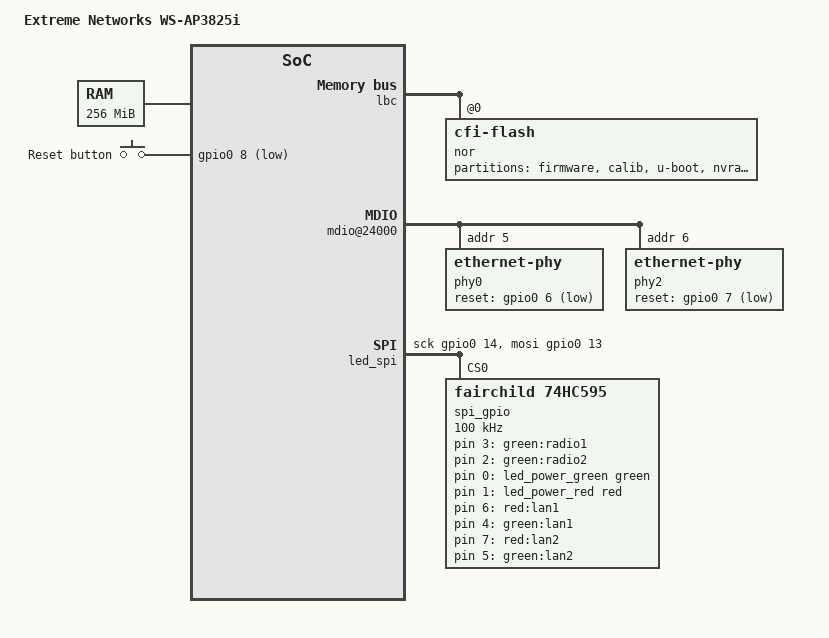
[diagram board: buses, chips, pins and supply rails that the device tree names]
// SPDX-License-Identifier: GPL-2.0-or-later or MIT

/include/ "fsl/p1020si-pre.dtsi"

#include <dt-bindings/gpio/gpio.h>
#include <dt-bindings/input/input.h>
#include <dt-bindings/leds/common.h>

/ {
	model = "Extreme Networks WS-AP3825i";
	compatible = "extreme-networks,ws-ap3825i";

	#address-cells = <2>;
	#size-cells = <2>;

	aliases {
		led-boot = &led_power_green;
		led-failsafe = &led_power_red;
		led-running = &led_power_green;
		led-upgrade = &led_power_red;
		label-mac-device = &enet0;
	};

	chosen {
		bootargs-override = "console=ttyS0,115200";
		stdout-path = &serial0;
	};

	memory {
		device_type = "memory";
	};

	leds {
		compatible = "gpio-leds";

		wifi1 {
			gpios = <&spi_gpio 3 GPIO_ACTIVE_HIGH>;
			label = "green:radio1";
			linux,default-trigger = "phy0tpt";
		};

		wifi2 {
			gpios = <&spi_gpio 2 GPIO_ACTIVE_HIGH>;
			label = "green:radio2";
			linux,default-trigger = "phy1tpt";
		};

		led_power_green: power_green {
			gpios = <&spi_gpio 0 GPIO_ACTIVE_HIGH>;
			function = LED_FUNCTION_POWER;
			color = <LED_COLOR_ID_GREEN>;
		};

		led_power_red: power_red {
			gpios = <&spi_gpio 1 GPIO_ACTIVE_HIGH>;
			function = LED_FUNCTION_POWER;
			color = <LED_COLOR_ID_RED>;
		};

		lan1_red {
			gpios = <&spi_gpio 6 GPIO_ACTIVE_HIGH>;
			label = "red:lan1";
		};

		lan1_green {
			gpios = <&spi_gpio 4 GPIO_ACTIVE_HIGH>;
			label = "green:lan1";
		};

		lan2_red {
			gpios = <&spi_gpio 7 GPIO_ACTIVE_HIGH>;
			label = "red:lan2";
		};

		lan2_green {
			gpios = <&spi_gpio 5 GPIO_ACTIVE_HIGH>;
			label = "green:lan2";
		};
	};

	keys {
		compatible = "gpio-keys";

		reset {
			label = "Reset button";
			gpios = <&gpio0 8 GPIO_ACTIVE_LOW>;
			linux,code = <KEY_RESTART>;
		};
	};

	lbc: localbus@ffe05000 {
		reg = <0 0xffe05000 0 0x1000>;
		ranges = <0x0 0x0 0x0 0xec000000 0x4000000>;

		nor@0 {
			compatible = "cfi-flash";
			reg = <0x0 0x0 0x4000000>;
			bank-width = <2>;
			device-width = <1>;

			partitions {
				compatible = "fixed-partitions";
				#address-cells = <1>;
				#size-cells = <1>;

				partition@0 {
					compatible = "denx,fit";
					reg = <0x0 0x3d60000>;
					label = "firmware";
				};

				partition@3d60000 {
					reg = <0x3d60000 0x20000>;
					label = "calib";
					read-only;
				};

				partition@3d80000{
					reg = <0x3d80000 0x80000>;
					label = "u-boot";
					read-only;
				};

				partition@3e00000{
					reg = <0x3e00000 0x100000>;
					label = "nvram";
					read-only;
				};

				partition@3f00000 {
					reg = <0x3f00000 0x20000>;
					label = "cfg2";
				};

				partition@3f20000 {
					reg = <0x3f20000 0x20000>;
					label = "cfg1";

					nvmem-layout {
						compatible = "u-boot,env-redundant-bool";
						env-size = <0x10000>;

						macaddr_cfg1_ethaddr: ethaddr {
							#nvmem-cell-cells = <1>;
						};
					};
				};
			};
		};
	};

	soc: soc@ffe00000 {
		ranges = <0x0 0x0 0xffe00000 0x100000>;

		gpio0: gpio-controller@fc00 {
		};

		mdio@24000 {
			phy0: ethernet-phy@0 {
				/* interrupts = <3 1 0 0>; */
				reg = <0x5>;
				reset-gpios = <&gpio0 6 GPIO_ACTIVE_LOW>;
				reset-assert-us = <10000>;
				reset-deassert-us = <10000>;
			};

			phy2: ethernet-phy@2 {
				/* interrupts = <1 1 0 0>; */
				reg = <0x6>;
				reset-gpios = <&gpio0 7 GPIO_ACTIVE_LOW>;
				reset-assert-us = <10000>;
				reset-deassert-us = <10000>;
			};
		};

		mdio@25000 {
			status = "disabled";
		};

		mdio@26000 {
			status = "disabled";
		};

		enet0: ethernet@b0000 {
			phy-handle = <&phy0>;
			phy-connection-type = "rgmii-id";

			nvmem-cells = <&macaddr_cfg1_ethaddr 0>;
			nvmem-cell-names = "mac-address";
		};

		enet1: ethernet@b1000 {
			status = "disabled";
		};

		enet2: ethernet@b2000 {
			phy-handle = <&phy2>;
			phy-connection-type = "rgmii-id";

			nvmem-cells = <&macaddr_cfg1_ethaddr (-1)>;
			nvmem-cell-names = "mac-address";
		};

		usb@22000 {
			phy_type = "ulpi";
			dr_mode = "host";
		};

		usb@23000 {
			status = "disabled";
		};
	};

	pci0: pcie@ffe09000 {
		ranges = <0x2000000 0x0 0xa0000000 0 0xa0000000 0x0 0x20000000>,
			  <0x1000000 0x0 0x00000000 0 0xffc10000 0x0 0x10000>;
		reg = <0 0xffe09000 0 0x1000>;

		/* Filled by U-Boot */
		bus-range = <0x00 0x01>;
		dma-ranges = <0x2000000 0x00 0xfff00000 0x00 0xffe00000 0x00 0x100000>,
			      <0x42000000 0x00 0x00 0x00 0x00 0x00 0x10000000>;

		pcie@0 {
			ranges = <0x2000000 0x0 0xa0000000
				  0x2000000 0x0 0xa0000000
				  0x0 0x20000000>,
				 <0x1000000 0x0 0x0
				  0x1000000 0x0 0x0
				  0x0 0x100000>;
		};
	};

	pci1: pcie@ffe0a000 {
		reg = <0 0xffe0a000 0 0x1000>;
		ranges = <0x2000000 0x0 0x80000000 0 0x80000000 0x0 0x20000000>,
			  <0x1000000 0x0 0x00000000 0 0xffc00000 0x0 0x10000>;

		/* Filled by U-Boot */
		bus-range = <0x00 0x01>;
		dma-ranges = <0x2000000 0x00 0xfff00000 0x00 0xffe00000 0x00 0x100000>,
			      <0x42000000 0x00 0x00 0x00 0x00 0x00 0x10000000>;

		pcie@0 {
			ranges = <0x2000000 0x0 0x80000000
				  0x2000000 0x0 0x80000000
				  0x0 0x20000000>,
				 <0x1000000 0x0 0x0
				  0x1000000 0x0 0x0
				  0x0 0x100000>;
		};
	};
};

&soc {
	led_spi {
		/*
		 * This is currently non-functioning because the spi-gpio
		 * driver refuses to register when presented with this node.
		 */
		compatible = "spi-gpio";
		#address-cells = <1>;
		#size-cells = <0>;

		sck-gpios = <&gpio0 14 GPIO_ACTIVE_HIGH>;
		mosi-gpios = <&gpio0 13 GPIO_ACTIVE_HIGH>;
		num-chipselects = <0>;

		spi_gpio: led_gpio@0 {
			compatible = "fairchild,74hc595";
			reg = <0>;
			gpio-controller;
			#gpio-cells = <2>;
			registers-number = <1>;
			spi-max-frequency = <100000>;
		};
	};
};

/include/ "fsl/p1020si-post.dtsi"

/ {
	cpus {
		PowerPC,P1020@0 {
			bus-frequency = <399999996>;
			timebase-frequency = <50000000>;
			clock-frequency = <799999992>;
			d-cache-block-size = <0x20>;
			d-cache-size = <0x8000>;
			d-cache-sets = <0x80>;
			i-cache-block-size = <0x20>;
			i-cache-size = <0x8000>;
			i-cache-sets = <0x80>;
			cpu-release-addr = <0x0 0x0ffff280>;
			enable-method = "spin-table";
		};

		PowerPC,P1020@1 {
			bus-frequency = <399999996>;
			timebase-frequency = <50000000>;
			clock-frequency = <799999992>;
			d-cache-block-size = <0x20>;
			d-cache-size = <0x8000>;
			d-cache-sets = <0x80>;
			i-cache-block-size = <0x20>;
			i-cache-size = <0x8000>;
			i-cache-sets = <0x80>;
			cpu-release-addr = <0x0 0x0ffff2a0>;
			status = "disabled";
			enable-method = "spin-table";
		};
	};

	memory {
		reg = <0x0 0x0 0x0 0x10000000>;
	};

	reserved-memory {
		#address-cells = <2>;
		#size-cells = <2>;
		ranges;

		cpu1-bootpage@ff00000 {
			/* Reserve upper 1 MB for second-core-bootpage */
			reg = <0x0 0xff00000 0x0 0x100000>;
		};
	};

	soc@ffe00000 {
		bus-frequency = <399999996>;

		serial@4600 {
			clock-frequency = <399999996>;
		};

		serial@4500 {
			clock-frequency = <399999996>;
		};

		pic@40000 {
			clock-frequency = <399999996>;
		};
	};

	localbus@ffe05000 {
		bus-frequency = <24999999>;
	};
};

&enet0 {
	rx-stash-idx = <0x00>;
	rx-stash-len = <0x60>;
	bd-stash;
};

&enet2 {
	rx-stash-idx = <0x00>;
	rx-stash-len = <0x60>;
	bd-stash;
};

/*
 * For the OpenWrt 22.03 release, since Linux 5.10.138 now uses
 * aliases to determine PCI domain numbers, drop aliases so as not to
 * change the sysfs path of our wireless netdevs.
 */

/ {
	aliases {
		/delete-property/ pci0;
		/delete-property/ pci1;
	};
};
